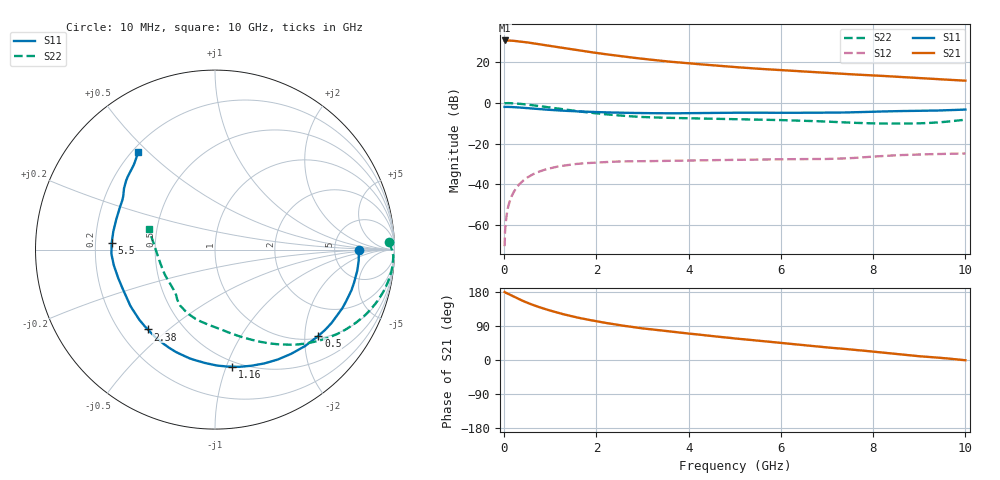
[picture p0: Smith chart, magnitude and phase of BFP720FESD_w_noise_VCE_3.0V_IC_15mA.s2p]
! Infineon Technologies  Discrete & RF Semiconductors
! BFP720FESD
! VCE =  3.0 V,  IC =  15 mA
! Common Emitter S-Parameters:  Jan 2016
# GHz  S  MA  R  50
!  f  S11  S21  S12  S22
! GHz  MAG  ANG  MAG  ANG  MAG  ANG  MAG  ANG
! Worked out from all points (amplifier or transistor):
!   233 points, 10 MHz to 10 GHz, reference 50 ohm
!   highest |S21| = 30.8 dB at 10 MHz (marker M1)
!   |S21| within 3 dB of that: start of sweep to 1.087 GHz
!   unconditionally stable (mu >= 1): 6.024 GHz to end of sweep
!   at 200 MHz: K = 0.06, MSG = 37.4 dB, |S12| = -44.2 dB
!   at 1.74 GHz: K = 0.37, MSG = 27.6 dB, |S12| = -29.7 dB
!   at 10 GHz: K = 1.21, MAG = 15.2 dB, |S12| = -24.9 dB
!   lowest NFmin = 0.82 dB at 450 MHz
!   S11 on the Smith chart (normalised r, x): 10 MHz: 9.13, -0.07; 500 MHz: 1.07, -2.34; 1.16 GHz: 0.46, -1.05; 2.38 GHz: 0.32, -0.43; 5.5 GHz: 0.27, +0.03; 10 GHz: 0.22, +0.46
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0.01  0.8025 -0.1  34.62 179.4  0.0003 108.3  0.969 2.4
0.055  0.8027 -4.6  34.33 176.3  0.0018 83.0  0.9938 -2.3
0.1  0.8015 -8.2  34.43 174.0  0.0032 86.7  0.9944 -4.7
0.2  0.7933 -16.6  33.99 167.8  0.0062 81.1  0.983 -9.8
0.34  0.7743 -27.8  32.77 159.6  0.0103 75.3  0.9556 -16.3
0.5  0.7504 -39.8  31.02 151.2  0.0146 69.4  0.9154 -23.2
0.6  0.7352 -47.0  29.86 146.3  0.017 65.8  0.8871 -27.1
0.8  0.7052 -60.3  27.55 137.8  0.0213 59.5  0.8302 -34.3
1  0.6781 -72.6  25.4 130.3  0.0249 53.9  0.7734 -40.9
1.16  0.6593 -81.6  23.78 124.8  0.0273 49.9  0.7297 -45.7
1.4  0.6359 -94.1  21.53 117.2  0.0301 44.7  0.6691 -52.4
1.68  0.6165 -106.3  19.29 109.7  0.0325 39.8  0.6101 -59.1
2  0.5994 -117.9  17.05 102.3  0.0344 35.5  0.5564 -65.9
2.38  0.5821 -130.2  14.95 94.3  0.036 31.3  0.5066 -73.4
3  0.5662 -146.4  12.25 83.4  0.037 26.6  0.4522 -84.1
3.4  0.5593 -153.8  10.95 78.0  0.0375 25.8  0.4366 -88.5
4.2  0.5643 -166.7  9.076 67.3  0.0388 24.6  0.4167 -96.6
5.1  0.5771 -178.8  7.525 55.8  0.04 23.9  0.399 -106.5
5.5  0.5769 176.5  6.98 51.1  0.0405 23.9  0.3921 -110.4
6.8  0.577 158.9  5.691 35.7  0.0419 25.4  0.3561 -125.0
8.4  0.6271 142.1  4.513 17.1  0.051 29.3  0.3122 -151.9
10  0.6906 128.3  3.549 -0.7  0.0571 23.6  0.3886 162.4
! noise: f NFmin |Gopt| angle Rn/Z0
0.45  0.82  0.14  0  0.11
2.4  0.85  0.09  25  0.13
5.5  1  0.23  133  0.09
10  1.44  0.27  -137  0.13
